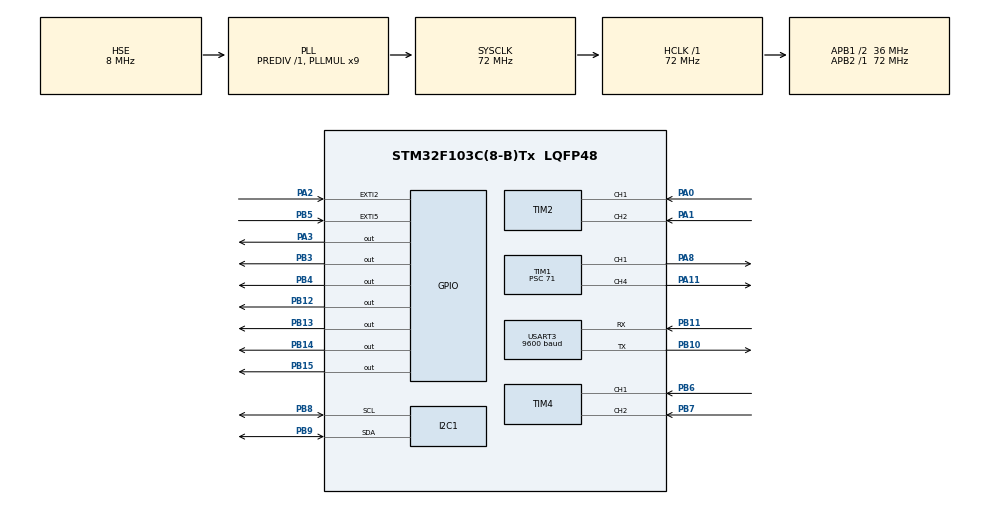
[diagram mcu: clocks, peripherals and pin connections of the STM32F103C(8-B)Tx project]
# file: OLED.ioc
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Mcu.Family=STM32F1
Mcu.Name=STM32F103C(8-B)Tx
Mcu.Package=LQFP48
NVIC.EXTI2_IRQn=true\:0\:0\:false\:false\:true\:true\:true
NVIC.EXTI9_5_IRQn=true\:0\:0\:false\:false\:true\:true\:true
NVIC.PriorityGroup=NVIC_PRIORITYGROUP_4
NVIC.USART3_IRQn=true\:0\:0\:false\:false\:true\:true\:true
PA0-WKUP.Signal=S_TIM2_CH1_ETR
PA1.Signal=S_TIM2_CH2
PA11.Signal=S_TIM1_CH4
PA13.Mode=Serial_Wire
PA13.Signal=SYS_JTMS-SWDIO
PA14.Mode=Serial_Wire
PA14.Signal=SYS_JTCK-SWCLK
PA2.GPIO_ModeDefaultEXTI=GPIO_MODE_IT_RISING_FALLING
PA2.Signal=GPXTI2
PA3.GPIO_Speed=GPIO_SPEED_FREQ_HIGH
PA3.Signal=GPIO_Output
PA8.Signal=S_TIM1_CH1
PB10.Mode=Asynchronous
PB10.Signal=USART3_TX
PB11.Mode=Asynchronous
PB11.Signal=USART3_RX
PB12.Signal=GPIO_Output
PB13.Signal=GPIO_Output
PB14.Signal=GPIO_Output
PB15.Signal=GPIO_Output
PB3.Signal=GPIO_Output
PB4.Signal=GPIO_Output
PB5.GPIO_ModeDefaultEXTI=GPIO_MODE_IT_FALLING
PB5.GPIO_PuPd=GPIO_PULLUP
PB5.Signal=GPXTI5
PB6.Signal=S_TIM4_CH1
PB7.Signal=S_TIM4_CH2
PB8.Mode=I2C
PB8.Signal=I2C1_SCL
PB9.Mode=I2C
PB9.Signal=I2C1_SDA
PC14-OSC32_IN.Mode=LSE-External-Oscillator
PC14-OSC32_IN.Signal=RCC_OSC32_IN
PC15-OSC32_OUT.Mode=LSE-External-Oscillator
PC15-OSC32_OUT.Signal=RCC_OSC32_OUT
PD0-OSC_IN.Mode=HSE-External-Oscillator
PD0-OSC_IN.Signal=RCC_OSC_IN
PD1-OSC_OUT.Mode=HSE-External-Oscillator
PD1-OSC_OUT.Signal=RCC_OSC_OUT
ProjectManager.HeapSize=0x200
ProjectManager.StackSize=0x400
ProjectManager.TargetToolchain=MDK-ARM V5.32
RCC.AHBFreq_Value=72000000
RCC.APB1CLKDivider=RCC_HCLK_DIV2
RCC.APB1Freq_Value=36000000
RCC.APB1TimFreq_Value=72000000
RCC.APB2Freq_Value=72000000
RCC.APB2TimFreq_Value=72000000
RCC.HCLKFreq_Value=72000000
RCC.PLLMUL=RCC_PLL_MUL9
RCC.PLLSourceVirtual=RCC_PLLSOURCE_HSE
RCC.SYSCLKFreq_VALUE=72000000
RCC.SYSCLKSource=RCC_SYSCLKSOURCE_PLLCLK
RCC.USBFreq_Value=72000000
SH.S_TIM1_CH1.0=TIM1_CH1,PWM Generation1 CH1
SH.S_TIM1_CH4.0=TIM1_CH4,PWM Generation4 CH4
SH.S_TIM2_CH1_ETR.0=TIM2_CH1,Encoder_Interface
SH.S_TIM2_CH2.0=TIM2_CH2,Encoder_Interface
SH.S_TIM4_CH1.0=TIM4_CH1,Encoder_Interface
SH.S_TIM4_CH2.0=TIM4_CH2,Encoder_Interface
TIM1.Channel-PWM\ Generation1\ CH1=TIM_CHANNEL_1
TIM1.Channel-PWM\ Generation4\ CH4=TIM_CHANNEL_4
TIM1.Period=7199
TIM1.Prescaler=71
TIM1.Pulse-PWM\ Generation1\ CH1=99
TIM1.Pulse-PWM\ Generation4\ CH4=99
TIM2.EncoderMode=TIM_ENCODERMODE_TI12
TIM3.Prescaler=71
TIM4.EncoderMode=TIM_ENCODERMODE_TI12
USART3.BaudRate=9600
USART3.VirtualMode=VM_ASYNC
VP_TIM3_VS_ClockSourceINT.Mode=Internal
board=custom

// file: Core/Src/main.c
/* USER CODE BEGIN Header */
/**
  ******************************************************************************
  * @file           : main.c
  * @brief          : Main program body
  ******************************************************************************
  * @attention
  *
  * <h2><center>&copy; Copyright (c) 2025 STMicroelectronics.
  * All rights reserved.</center></h2>
  *
  * This software component is licensed by ST under BSD 3-Clause license,
  * the "License"; You may not use this file except in compliance with the
  * License. You may obtain a copy of the License at:
  *                        opensource.org/licenses/BSD-3-Clause
  *
  ******************************************************************************
  */
/* USER CODE END Header */
#include "main.h"
#include "i2c.h"
#include "tim.h"
#include "usart.h"
#include "gpio.h"

/* USER CODE BEGIN Includes */
#include "oled.h"
#include "IIC.h"
#include "inv_mpu.h"
#include "inv_mpu_dmp_motion_driver.h"
#include "mpu6050.h"
#include "stdio.h"
#include "sr04.h"
#include "motor.h"
#include "encoder.h"
/* USER CODE END Includes */

/* USER CODE BEGIN PV */

extern float pitch,roll,yaw;
extern short gyrox,gyroy,gyroz;
extern int Encoder_Left,Encoder_Right;
uint8_t display_buf[20];
extern uint8_t rx_buf[2];
extern float distance;

/* USER CODE END PV */

void SystemClock_Config(void);

/* USER CODE BEGIN 0 */
void Read(void);
/* USER CODE END 0 */

int main(void)
{

  /* MCU Configuration--------------------------------------------------------*/

  /* Reset of all peripherals, Initializes the Flash interface and the Systick. */
  HAL_Init();

  /* Configure the system clock */
  SystemClock_Config();

  /* Initialize all configured peripherals */
  MX_GPIO_Init();
  MX_I2C1_Init();
  MX_TIM1_Init();
  MX_TIM2_Init();
  MX_TIM4_Init();
  MX_USART3_UART_Init();
  MX_TIM3_Init();
  /* USER CODE BEGIN 2 */

  OLED_Init();
  OLED_Clear();
  MPU_Init();
  mpu_dmp_init();

	OLED_ShowString(0,00,"Init Sucess!",16);
	HAL_NVIC_SetPriority(EXTI9_5_IRQn, 0, 0);
	HAL_NVIC_EnableIRQ(EXTI9_5_IRQn);
	HAL_TIM_PWM_Start(&htim1,TIM_CHANNEL_1);
	HAL_TIM_PWM_Start(&htim1,TIM_CHANNEL_4);
	HAL_TIM_Encoder_Start(&htim2,TIM_CHANNEL_ALL);
	HAL_TIM_Encoder_Start(&htim4,TIM_CHANNEL_ALL);
	HAL_UART_Receive_IT(&huart3,rx_buf,1);

	OLED_Clear();
  /* USER CODE END 2 */

  /* Infinite loop */
  /* USER CODE BEGIN WHILE */
  while (1)
  {
	  sprintf((char *)display_buf,"Encoder_L:%d  ",Encoder_Left);
	  OLED_ShowString(0,0,display_buf,16);
	  sprintf((char *)display_buf,"Encoder_R:%d  ",Encoder_Right);
	  OLED_ShowString(0,2,display_buf,16);
	  mpu_dmp_get_data(&pitch,&roll,&yaw);
//	  sprintf((char *)display_buf,"pitch:%.2f  ",pitch);
//	  OLED_ShowString(0,2,display_buf,16);
	  HAL_UART_Transmit(&huart3,display_buf,sizeof(display_buf),1000);
//	  sprintf((char *)display_buf,"gyrox:%.1f  ",(float)gyrox);
//	  OLED_ShowString(0,4,display_buf,16);
	  sprintf((char *)display_buf,"roll:%.1f  ",roll);
	  OLED_ShowString(0,4,display_buf,16);
	  GET_Distance();
	  sprintf((char *)display_buf,"distance:%.1f  ",distance);
	  OLED_ShowString(0,6,display_buf,16);
    /* USER CODE END WHILE */

  }
}

void SystemClock_Config(void)
{
  RCC_OscInitTypeDef RCC_OscInitStruct = {0};
  RCC_ClkInitTypeDef RCC_ClkInitStruct = {0};

  /** Initializes the RCC Oscillators according to the specified parameters
  * in the RCC_OscInitTypeDef structure.
  */
  RCC_OscInitStruct.OscillatorType = RCC_OSCILLATORTYPE_HSE;
  RCC_OscInitStruct.HSEState = RCC_HSE_ON;
  RCC_OscInitStruct.HSEPredivValue = RCC_HSE_PREDIV_DIV1;
  RCC_OscInitStruct.HSIState = RCC_HSI_ON;
  RCC_OscInitStruct.PLL.PLLState = RCC_PLL_ON;
  RCC_OscInitStruct.PLL.PLLSource = RCC_PLLSOURCE_HSE;
  RCC_OscInitStruct.PLL.PLLMUL = RCC_PLL_MUL9;
  if (HAL_RCC_OscConfig(&RCC_OscInitStruct) != HAL_OK)
  {
    Error_Handler();
  }
  /** Initializes the CPU, AHB and APB buses clocks
  */
  RCC_ClkInitStruct.ClockType = RCC_CLOCKTYPE_HCLK|RCC_CLOCKTYPE_SYSCLK
                              |RCC_CLOCKTYPE_PCLK1|RCC_CLOCKTYPE_PCLK2;
  RCC_ClkInitStruct.SYSCLKSource = RCC_SYSCLKSOURCE_PLLCLK;
  RCC_ClkInitStruct.AHBCLKDivider = RCC_SYSCLK_DIV1;
  RCC_ClkInitStruct.APB1CLKDivider = RCC_HCLK_DIV2;
  RCC_ClkInitStruct.APB2CLKDivider = RCC_HCLK_DIV1;

  if (HAL_RCC_ClockConfig(&RCC_ClkInitStruct, FLASH_LATENCY_2) != HAL_OK)
  {
    Error_Handler();
  }
}

void Error_Handler(void)
{
  __disable_irq();
  while (1)
  {
  }
}

/************************ (C) COPYRIGHT STMicroelectronics *****END OF FILE****/
